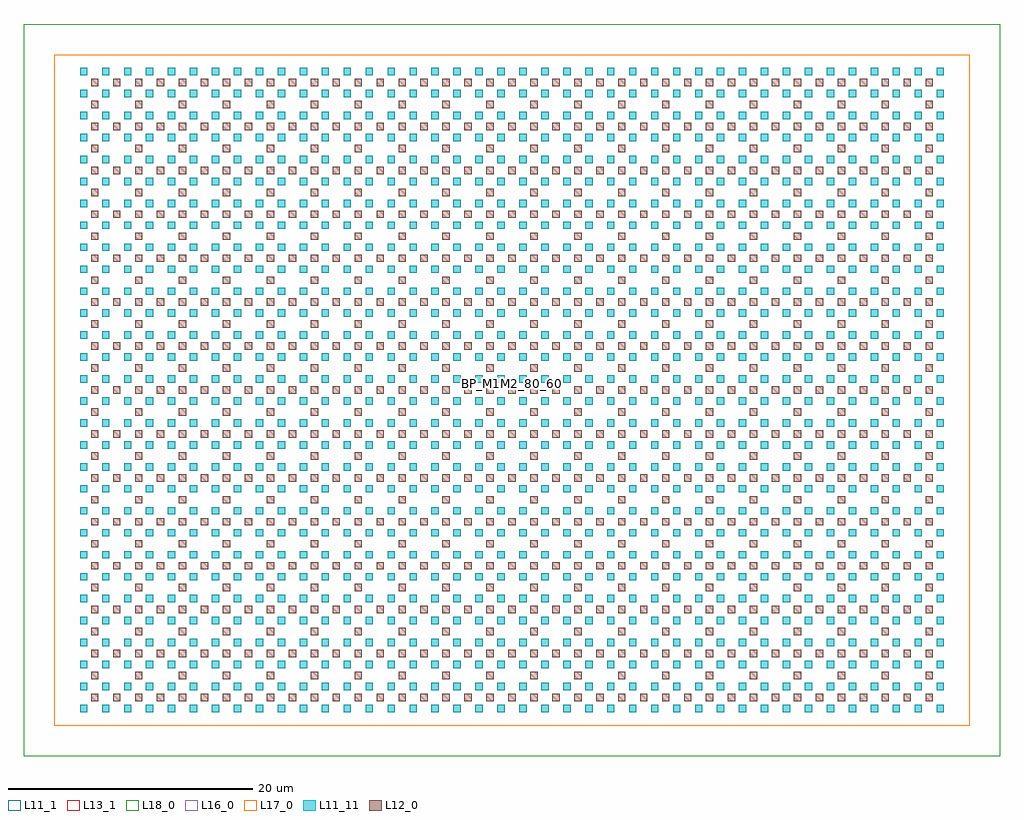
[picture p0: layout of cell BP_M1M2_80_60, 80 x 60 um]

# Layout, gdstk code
import gdstk
lib = gdstk.Library(unit=1e-6, precision=1e-09)
def R(c, l, rs):  # rectangles x0, y0, x1, y1
    for r in rs: c.add(gdstk.rectangle(r[:2], r[2:], *l))
L11_1 = (11, 1)
L11_11 = (11, 11)
L12_0 = (12, 0)
L13_1 = (13, 1)
L16_0 = (16, 0)
L17_0 = (17, 0)
L18_0 = (18, 0)

bp_m1m2_80_60_1 = lib.new_cell('BP_M1M2_80_60_1')
R(bp_m1m2_80_60_1, L12_0, [(-0.3,-0.3,0.3,0.3)])

bp_m1m2_80_60_2 = lib.new_cell('BP_M1M2_80_60_2')
R(bp_m1m2_80_60_2, L12_0, [(-0.3,-0.3,0.3,0.3)])

bp_m1m2_80_60_3 = lib.new_cell('BP_M1M2_80_60_3')
R(bp_m1m2_80_60_3, L12_0, [(-0.3,-0.3,0.3,0.3)])

bp_m1m2_80_60_4 = lib.new_cell('BP_M1M2_80_60_4')
R(bp_m1m2_80_60_4, L11_11, [(-0.3,-0.3,0.3,0.3)])

bp_m1m2_80_60 = lib.new_cell('BP_M1M2_80_60')
R(bp_m1m2_80_60, L11_1, [(-40,-30,40,30), (-40,-30,40,30)])
R(bp_m1m2_80_60, L13_1, [(-40,-30,40,30), (-40,-30,40,30)])
R(bp_m1m2_80_60, L16_0, [(-37.5,-27.5,37.5,27.5), (-37.5,-27.5,37.5,27.5)])
R(bp_m1m2_80_60, L17_0, [(-37.5,-27.5,37.5,27.5), (-37.5,-27.5,37.5,27.5)])
R(bp_m1m2_80_60, L18_0, [(-40,-30,40,30), (-40,-30,40,30)])
r = gdstk.Reference(bp_m1m2_80_60_1, (-34.2,-25.2)); r.repetition = gdstk.Repetition(20, 15, v1=(3.6,0), v2=(0,3.6)); bp_m1m2_80_60.add(r)
r = gdstk.Reference(bp_m1m2_80_60_2, (-32.4,-25.2)); r.repetition = gdstk.Repetition(19, 15, v1=(3.6,0), v2=(0,3.6)); bp_m1m2_80_60.add(r)
r = gdstk.Reference(bp_m1m2_80_60_3, (-34.2,-23.4)); r.repetition = gdstk.Repetition(20, 14, v1=(3.6,0), v2=(0,3.6)); bp_m1m2_80_60.add(r)
r = gdstk.Reference(bp_m1m2_80_60_4, (-35.1,-26.1)); r.repetition = gdstk.Repetition(40, 30, v1=(1.8,0), v2=(0,1.8)); bp_m1m2_80_60.add(r)
r = gdstk.Reference(bp_m1m2_80_60_1, (-34.2,-25.2)); r.repetition = gdstk.Repetition(20, 15, v1=(3.6,0), v2=(0,3.6)); bp_m1m2_80_60.add(r)
r = gdstk.Reference(bp_m1m2_80_60_2, (-32.4,-25.2)); r.repetition = gdstk.Repetition(19, 15, v1=(3.6,0), v2=(0,3.6)); bp_m1m2_80_60.add(r)
r = gdstk.Reference(bp_m1m2_80_60_3, (-34.2,-23.4)); r.repetition = gdstk.Repetition(20, 14, v1=(3.6,0), v2=(0,3.6)); bp_m1m2_80_60.add(r)
r = gdstk.Reference(bp_m1m2_80_60_4, (-35.1,-26.1)); r.repetition = gdstk.Repetition(40, 30, v1=(1.8,0), v2=(0,1.8)); bp_m1m2_80_60.add(r)
bp_m1m2_80_60.add(gdstk.Label('BP_M1M2_80_60', (0,0.5), layer=1002, texttype=0))
bp_m1m2_80_60.add(gdstk.Label('ISIPP50G_2_3_0', (0,0), layer=1002, texttype=0))
bp_m1m2_80_60.add(gdstk.Label('imec_cell', (0,-0.5), layer=1002, texttype=0))

lib.write_gds('BP_M1M2_80_60.gds')
